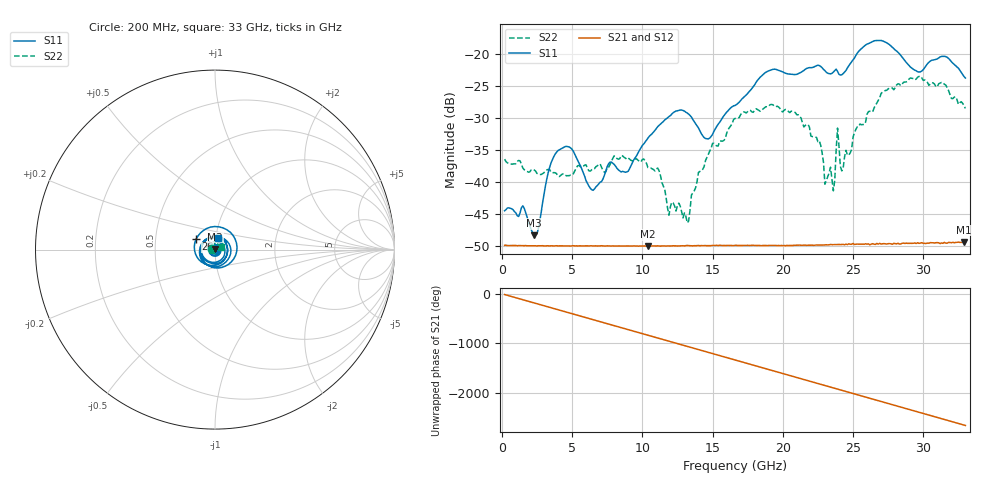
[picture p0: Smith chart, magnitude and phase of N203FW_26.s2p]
# GHZ S RI R 50
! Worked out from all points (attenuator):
!   329 points, 200 MHz to 33 GHz, reference 50 ohm
!   highest |S21| = -49.43 dB at 32.9 GHz (marker M1); lowest = -50.1 dB at 10.4 GHz (marker M2)
!   lowest |S11| = -48.4 dB at 2.3 GHz (marker M3), VSWR 1.01, Z = 50.1 + j0.358 ohm
!   |S11| at or under -10 dB: start of sweep to end of sweep
!   |S22| runs from -46.4 to -23.4 dB; largest |S21 - S12| = 8.8e-05
!   S11 on the Smith chart (normalised r, x): 200 MHz: 1.01, +0.00; 26 GHz: 0.80, +0.09; 33 GHz: 1.03, +0.13
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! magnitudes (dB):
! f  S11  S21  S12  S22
! 200 MHz  -44.5  -50.0  -49.9  -36.4
! 1.5 GHz  -43.7  -50.0  -50.0  -37.8
! 2.3 GHz  -48.4  -50.0  -50.0  -38.1
! 3.8 GHz  -35.6  -50.0  -50.0  -38.6
! 5.7 GHz  -38.0  -50.0  -50.0  -37.7
! 6.5 GHz  -41.3  -50.1  -50.0  -37.9
! 10.4 GHz  -33.2  -50.1  -50.1  -37.7
! 11.2 GHz  -31.1  -50.1  -50.0  -38.3
! 11.9 GHz  -29.7  -50.1  -50.0  -45.2
! 13.2 GHz  -29.2  -50.0  -50.0  -46.4
! 14.7 GHz  -33.2  -50.0  -50.0  -35.7
! 16.6 GHz  -28.0  -49.9  -50.0  -30.0
! 19.3 GHz  -22.3  -50.0  -50.0  -27.9
! 22.1 GHz  -22.1  -49.9  -49.9  -32.9
! 23.6 GHz  -22.8  -49.8  -49.8  -41.4
! 23.9 GHz  -22.7  -49.8  -49.8  -31.5
! 24.2 GHz  -23.2  -49.8  -49.8  -38.3
! 26 GHz  -18.4  -49.8  -49.7  -29.4
! 27.6 GHz  -18.5  -49.7  -49.7  -25.3
! 29.8 GHz  -22.7  -49.6  -49.7  -23.4
! 32.9 GHz  -23.5  -49.4  -49.4  -28.0
! 33 GHz  -23.7  -49.4  -49.5  -28.5
